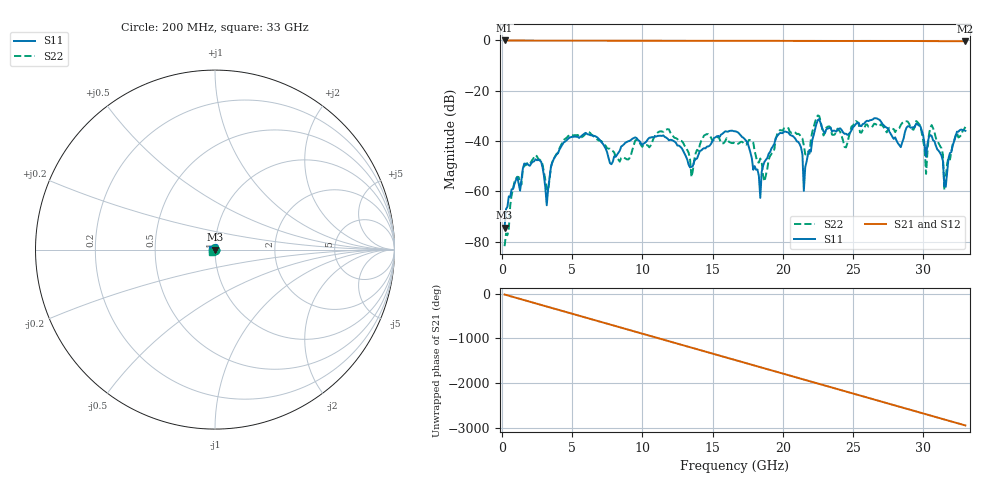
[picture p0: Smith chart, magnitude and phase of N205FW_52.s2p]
# GHZ S RI R 50
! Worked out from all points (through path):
!   329 points, 200 MHz to 33 GHz, reference 50 ohm
!   highest |S21| = -0.02 dB at 200 MHz (marker M1); lowest = -0.3 dB at 33 GHz (marker M2)
!   group delay of S21, straight-line fit = 248 ps
!   lowest |S11| = -74.3 dB at 200 MHz (marker M3), VSWR 1.00, Z = 50 - j0.00193 ohm
!   |S11| at or under -10 dB: start of sweep to end of sweep
!   |S22| runs from -81.7 to -29.8 dB; largest |S21 - S12| = 0.0022
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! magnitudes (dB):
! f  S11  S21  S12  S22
! 200 MHz  -74.3  0.0  0.0  -81.7
! 1.6 GHz  -48.9  -0.1  -0.1  -49.7
! 2.8 GHz  -48.2  -0.1  -0.1  -48.0
! 3.2 GHz  -65.5  -0.1  -0.1  -58.9
! 3.7 GHz  -47.1  -0.1  -0.1  -47.1
! 5.7 GHz  -37.8  -0.1  -0.1  -38.4
! 11.2 GHz  -37.9  -0.2  -0.2  -36.2
! 13.5 GHz  -50.2  -0.2  -0.2  -54.2
! 14.4 GHz  -42.8  -0.2  -0.2  -37.7
! 16.6 GHz  -36.1  -0.2  -0.2  -41.1
! 18.4 GHz  -62.5  -0.2  -0.2  -46.9
! 18.7 GHz  -48.2  -0.2  -0.2  -56.0
! 19.7 GHz  -37.3  -0.2  -0.2  -36.3
! 21.2 GHz  -41.2  -0.2  -0.2  -37.5
! 21.5 GHz  -59.7  -0.2  -0.2  -41.7
! 22.1 GHz  -39.6  -0.2  -0.2  -36.3
! 27.6 GHz  -36.4  -0.2  -0.2  -34.7
! 29.7 GHz  -33.8  -0.2  -0.2  -33.2
! 30.2 GHz  -46.2  -0.3  -0.3  -53.0
! 30.6 GHz  -37.9  -0.3  -0.3  -33.6
! 31.5 GHz  -57.8  -0.3  -0.3  -59.3
! 33 GHz  -35.9  -0.3  -0.3  -34.4
